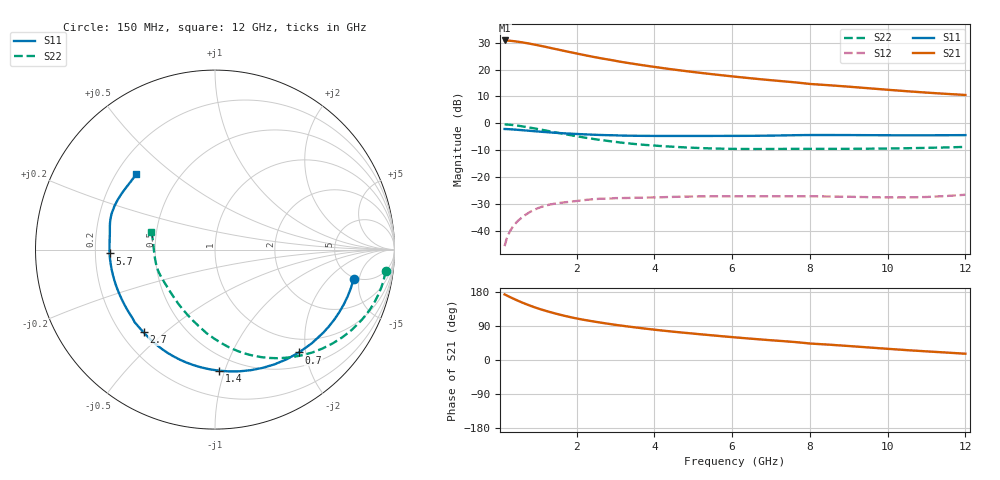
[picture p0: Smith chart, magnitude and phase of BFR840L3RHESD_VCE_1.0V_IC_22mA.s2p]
! Infineon Technologies  Discrete & RF Semiconductors
! BFR840L3RHESD
! VCE =  1.0 V,  IC =  22 mA
! Common Emitter S-Parameters:  Jun 2012
# GHz  S  MA  R  50
!  f  S11  S21  S12  S22
! GHz  MAG  ANG  MAG  ANG  MAG  ANG  MAG  ANG
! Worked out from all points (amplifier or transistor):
!   91 points, 150 MHz to 12 GHz, reference 50 ohm
!   highest |S21| = 30.8 dB at 150 MHz (marker M1)
!   |S21| within 3 dB of that: start of sweep to 1.403 GHz
!   unconditionally stable (mu >= 1): 6.672 GHz to end of sweep
!   at 1.3 GHz: K = 0.21, MSG = 29.1 dB, |S12| = -30.1 dB
!   at 4.3 GHz: K = 0.64, MSG = 23.8 dB, |S12| = -27.3 dB
!   at 12 GHz: K = 1.86, MAG = 13.2 dB, |S12| = -26.4 dB
!   S11 on the Smith chart (normalised r, x): 150 MHz: 4.85, -4.15; 700 MHz: 0.74, -1.88; 1.4 GHz: 0.39, -0.96; 2.7 GHz: 0.29, -0.43; 5.7 GHz: 0.26, -0.02; 12 GHz: 0.28, +0.37
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0.15  0.7894 -11.8  34.61 173.0  0.0053 82.3  0.9581 -7.1
0.25  0.7838 -19.3  34.33 168.0  0.0088 76.7  0.9506 -12.7
0.4  0.7706 -30.4  33.47 160.7  0.0132 72.3  0.9276 -20.6
0.6  0.7504 -44.2  31.9 151.7  0.0182 66.3  0.8854 -30.1
0.7  0.7401 -50.7  31.02 147.6  0.0205 63.3  0.8619 -34.5
0.8  0.73 -56.8  30.1 143.6  0.0228 60.3  0.8377 -38.7
1  0.7102 -68.2  28.23 136.4  0.0267 54.8  0.789 -46.6
1.2  0.6918 -78.6  26.35 130.0  0.0299 50.2  0.7412 -53.7
1.4  0.6753 -87.9  24.53 124.2  0.0322 46.3  0.6959 -60.4
1.6  0.6612 -96.4  22.83 118.9  0.0338 42.9  0.6537 -66.5
1.8  0.649 -104.2  21.27 114.1  0.0351 39.8  0.6152 -72.1
2.2  0.6285 -117.6  18.54 105.8  0.0379 34.6  0.5487 -82.0
2.7  0.609 -130.8  15.84 97.4  0.0402 30.1  0.485 -92.4
3  0.6033 -137.9  14.52 92.8  0.0413 28.7  0.4562 -97.8
3.4  0.5923 -146.0  12.98 87.4  0.0417 26.5  0.4223 -105.1
4.2  0.5866 -159.0  10.69 77.8  0.0429 24.5  0.3802 -117.6
5.7  0.5876 -177.9  7.885 63.1  0.0445 21.9  0.3411 -138.2
6.1  0.5882 178.0  7.345 59.5  0.0446 21.7  0.3373 -143.1
8  0.61 160.0  5.4 43.5  0.0446 20.9  0.338 -166.6
8.5  0.6104 156.4  5.113 40.4  0.0442 20.9  0.338 -170.7
10.5  0.6032 143.1  3.957 26.0  0.0425 28.0  0.3474 173.0
12  0.6078 136.2  3.372 16.6  0.0476 34.9  0.3675 164.7
